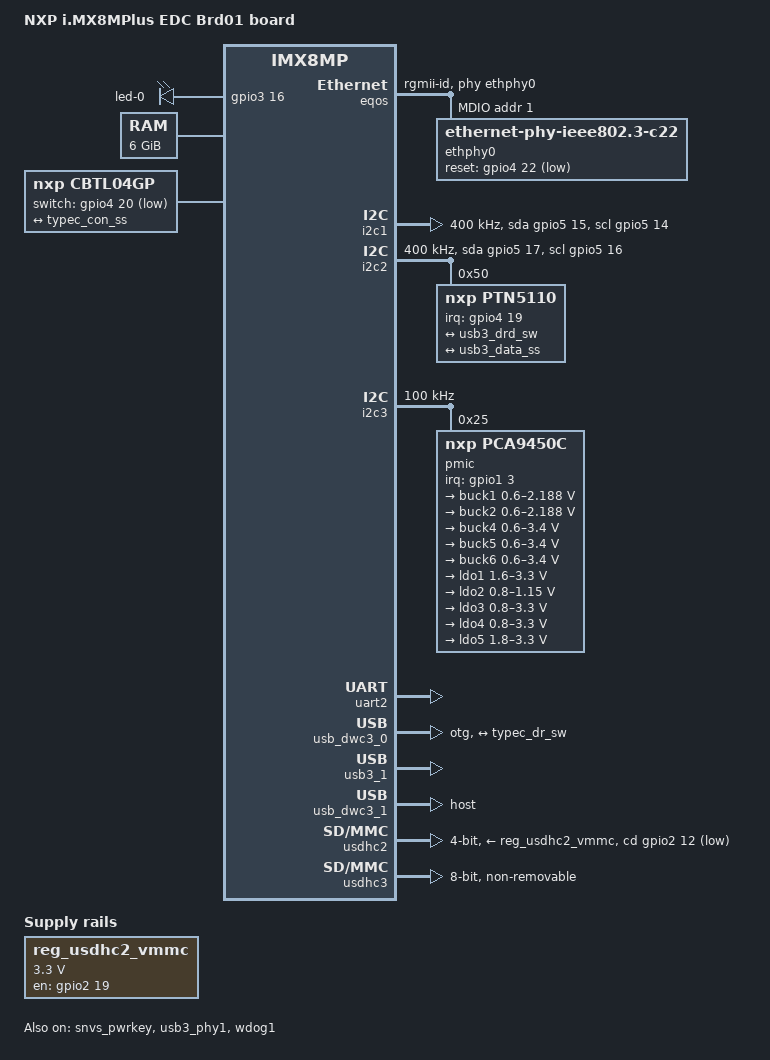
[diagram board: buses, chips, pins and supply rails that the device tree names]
/dts-v1/;

#include <dt-bindings/phy/phy-imx8-pcie.h>
#include <dt-bindings/usb/pd.h>
#include "imx8mp.dtsi"
#include "imx8mp-edc-brd01-pinmux.dtsi"

/ {
	model = "NXP i.MX8MPlus EDC Brd01 board";
	compatible = "fsl,imx8mp-evk", "fsl,imx8mp";

	chosen {
		bootargs = "console=ttymxc1,115200 earlycon=ec_imx6q,0x30890000,115200";
		stdout-path = &uart2;
	};

	gpio-leds {
		compatible = "gpio-leds";
		pinctrl-names = "default";
		pinctrl-0 = <&BOARD_InitPins>;

		led-0 {
			gpios = <&gpio3 16 GPIO_ACTIVE_HIGH>;
			default-state = "on";
		};
	};

	memory@40000000 {
		device_type = "memory";
		reg = <0x0 0x40000000 0 0xc0000000>,
		      <0x1 0x00000000 0 0xc0000000>;
	};

	reg_usdhc2_vmmc: regulator-usdhc2 {
		compatible = "regulator-fixed";
		pinctrl-names = "default";
		pinctrl-0 = <&BOARD_InitPins>;
		regulator-name = "VSD_3V3";
		regulator-min-microvolt = <3300000>;
		regulator-max-microvolt = <3300000>;
		gpio = <&gpio2 19 GPIO_ACTIVE_HIGH>;
		enable-active-high;
	};

	dsi_host: dsi-host {
		compatible = "samsung,sec-mipi-dsi";
		status = "okay";
	};

	cbtl04gp {
		compatible = "nxp,cbtl04gp";
		pinctrl-names = "default";
		pinctrl-0 = <&BOARD_InitPins>;
		switch-gpios = <&gpio4 20 GPIO_ACTIVE_LOW>;
		orientation-switch;

		port {
			usb3_data_ss: endpoint {
				remote-endpoint = <&typec_con_ss>;
			};
		};
	};
};

&A53_0 {
	cpu-supply = <&buck2>;
};

&A53_1 {
	cpu-supply = <&buck2>;
};

&A53_2 {
	cpu-supply = <&buck2>;
};

&A53_3 {
	cpu-supply = <&buck2>;
};

&eqos {
	pinctrl-names = "default";
	pinctrl-0 = <&BOARD_InitPins>;
	phy-mode = "rgmii-id";
	phy-handle = <&ethphy0>;
	snps,force_thresh_dma_mode;
	snps,mtl-tx-config = <&mtl_tx_setup>;
	snps,mtl-rx-config = <&mtl_rx_setup>;
	status = "okay";

	mdio {
		compatible = "snps,dwmac-mdio";
		#address-cells = <1>;
		#size-cells = <0>;

		ethphy0: ethernet-phy@1 {
			compatible = "ethernet-phy-ieee802.3-c22";
			reg = <1>;
			eee-broken-1000t;
			reset-gpios = <&gpio4 22 GPIO_ACTIVE_LOW>;
			reset-assert-us = <10000>;
			reset-deassert-us = <80000>;
			realtek,clkout-disable;
		};
	};

	mtl_tx_setup: tx-queues-config {
		snps,tx-queues-to-use = <5>;
		snps,tx-sched-sp;

		queue0 {
			snps,dcb-algorithm;
			snps,priority = <0x1>;
		};

		queue1 {
			snps,dcb-algorithm;
			snps,priority = <0x2>;
		};

		queue2 {
			snps,dcb-algorithm;
			snps,priority = <0x4>;
		};

		queue3 {
			snps,dcb-algorithm;
			snps,priority = <0x8>;
		};

		queue4 {
			snps,dcb-algorithm;
			snps,priority = <0xf0>;
		};
	};

	mtl_rx_setup: rx-queues-config {
		snps,rx-queues-to-use = <5>;
		snps,rx-sched-sp;

		queue0 {
			snps,dcb-algorithm;
			snps,priority = <0x1>;
			snps,map-to-dma-channel = <0>;
		};

		queue1 {
			snps,dcb-algorithm;
			snps,priority = <0x2>;
			snps,map-to-dma-channel = <1>;
		};

		queue2 {
			snps,dcb-algorithm;
			snps,priority = <0x4>;
			snps,map-to-dma-channel = <2>;
		};

		queue3 {
			snps,dcb-algorithm;
			snps,priority = <0x8>;
			snps,map-to-dma-channel = <3>;
		};

		queue4 {
			snps,dcb-algorithm;
			snps,priority = <0xf0>;
			snps,map-to-dma-channel = <4>;
		};
	};
};

&i2c1 {
	clock-frequency = <400000>;
	pinctrl-names = "default", "gpio";
	pinctrl-0 = <&BOARD_InitPins>;
	scl-gpios = <&gpio5 14 GPIO_ACTIVE_HIGH>;
	sda-gpios = <&gpio5 15 GPIO_ACTIVE_HIGH>;
	status = "okay";
};

&i2c2 {
	clock-frequency = <400000>;
	pinctrl-names = "default", "gpio";
	pinctrl-0 = <&BOARD_InitPins>;
	scl-gpios = <&gpio5 16 GPIO_ACTIVE_HIGH>;
	sda-gpios = <&gpio5 17 GPIO_ACTIVE_HIGH>;
	status = "okay";

	ptn5110: tcpc@50 {
		compatible = "nxp,ptn5110";
		pinctrl-names = "default";
		pinctrl-0 = <&pinctrl_typec>;
		reg = <0x50>;
		interrupt-parent = <&gpio4>;
		interrupts = <19 8>;

		port {
			typec_dr_sw: endpoint {
				remote-endpoint = <&usb3_drd_sw>;
			};
		};

		usb_con: connector {
			compatible = "usb-c-connector";
			label = "USB-C";
			power-role = "dual";
			data-role = "dual";
			try-power-role = "sink";
			source-pdos = <PDO_FIXED(5000, 3000, PDO_FIXED_USB_COMM)>;
			sink-pdos = <PDO_FIXED(5000, 3000, PDO_FIXED_USB_COMM)
				     PDO_VAR(5000, 20000, 3000)>;
			op-sink-microwatt = <15000000>;
			self-powered;

			ports {
				#address-cells = <1>;
				#size-cells = <0>;

				port@1 {
					reg = <1>;
					typec_con_ss: endpoint {
						remote-endpoint = <&usb3_data_ss>;
					};
				};
			};
		};
	};
};

&i2c3 {
	clock-frequency = <100000>;
	pinctrl-names = "default", "gpio";
	pinctrl-0 = <&BOARD_InitPins>;
	status = "okay";

	pmic@25 {
		compatible = "nxp,pca9450c";
		reg = <0x25>;
		pinctrl-names = "default";
		pinctrl-0 = <&pinctrl_pmic>;
		interrupt-parent = <&gpio1>;
		interrupts = <3 IRQ_TYPE_LEVEL_LOW>;

		regulators {
			buck1: BUCK1 {
				regulator-name = "BUCK1";
				regulator-min-microvolt = <600000>;
				regulator-max-microvolt = <2187500>;
				regulator-boot-on;
				regulator-always-on;
				regulator-ramp-delay = <3125>;
			};

			buck2: BUCK2 {
				regulator-name = "BUCK2";
				regulator-min-microvolt = <600000>;
				regulator-max-microvolt = <2187500>;
				regulator-boot-on;
				regulator-always-on;
				regulator-ramp-delay = <3125>;
				nxp,dvs-run-voltage = <950000>;
				nxp,dvs-standby-voltage = <850000>;
			};

			buck4: BUCK4{
				regulator-name = "BUCK4";
				regulator-min-microvolt = <600000>;
				regulator-max-microvolt = <3400000>;
				regulator-boot-on;
				regulator-always-on;
			};

			buck5: BUCK5{
				regulator-name = "BUCK5";
				regulator-min-microvolt = <600000>;
				regulator-max-microvolt = <3400000>;
				regulator-boot-on;
				regulator-always-on;
			};

			buck6: BUCK6 {
				regulator-name = "BUCK6";
				regulator-min-microvolt = <600000>;
				regulator-max-microvolt = <3400000>;
				regulator-boot-on;
				regulator-always-on;
			};

			ldo1: LDO1 {
				regulator-name = "LDO1";
				regulator-min-microvolt = <1600000>;
				regulator-max-microvolt = <3300000>;
				regulator-boot-on;
				regulator-always-on;
			};

			ldo2: LDO2 {
				regulator-name = "LDO2";
				regulator-min-microvolt = <800000>;
				regulator-max-microvolt = <1150000>;
				regulator-boot-on;
				regulator-always-on;
			};

			ldo3: LDO3 {
				regulator-name = "LDO3";
				regulator-min-microvolt = <800000>;
				regulator-max-microvolt = <3300000>;
				regulator-boot-on;
				regulator-always-on;
			};

			ldo4: LDO4 {
				regulator-name = "LDO4";
				regulator-min-microvolt = <800000>;
				regulator-max-microvolt = <3300000>;
				regulator-boot-on;
				regulator-always-on;
			};

			ldo5: LDO5 {
				regulator-name = "LDO5";
				regulator-min-microvolt = <1800000>;
				regulator-max-microvolt = <3300000>;
				regulator-boot-on;
				regulator-always-on;
			};
		};
	};
};

&snvs_pwrkey {
	status = "okay";
};

&uart2 {
	/* console */
	pinctrl-names = "default";
	pinctrl-0 = <&pinctrl_uart2>;
	status = "okay";
};

&usb_dwc3_0 {
	dr_mode = "otg";
	hnp-disable;
	srp-disable;
	adp-disable;
	usb-role-switch;
	role-switch-default-mode = "none";
	snps,dis-u1-entry-quirk;
	snps,dis-u2-entry-quirk;
	status = "okay";

	port {
		usb3_drd_sw: endpoint {
			remote-endpoint = <&typec_dr_sw>;
		};
	};
};

&usb3_phy1 {
	fsl,phy-tx-preemp-amp-tune = <3>;
	fsl,phy-tx-vref-tune = <0xb>;
	status = "okay";
};

&usb3_1 {
	status = "okay";
};

&usb_dwc3_1 {
	pinctrl-names = "default";
	pinctrl-0 = <&pinctrl_usb1_vbus>;
	dr_mode = "host";
	status = "okay";
};

&usdhc2 {
	assigned-clocks = <&clk IMX8MP_CLK_USDHC2>;
	assigned-clock-rates = <400000000>;
	pinctrl-names = "default", "state_100mhz", "state_200mhz";
	pinctrl-0 = <&pinctrl_usdhc2>, <&pinctrl_usdhc2_gpio>;
	pinctrl-1 = <&pinctrl_usdhc2_100mhz>, <&pinctrl_usdhc2_gpio>;
	pinctrl-2 = <&pinctrl_usdhc2_200mhz>, <&pinctrl_usdhc2_gpio>;
	cd-gpios = <&gpio2 12 GPIO_ACTIVE_LOW>;
	vmmc-supply = <&reg_usdhc2_vmmc>;
	bus-width = <4>;
	status = "okay";
};

&usdhc3 {
	assigned-clocks = <&clk IMX8MP_CLK_USDHC3>;
	assigned-clock-rates = <400000000>;
	pinctrl-names = "default", "state_100mhz", "state_200mhz";
	pinctrl-0 = <&pinctrl_usdhc3>;
	pinctrl-1 = <&pinctrl_usdhc3_100mhz>;
	pinctrl-2 = <&pinctrl_usdhc3_200mhz>;
	bus-width = <8>;
	non-removable;
	status = "okay";
};

&wdog1 {
	pinctrl-names = "default";
	pinctrl-0 = <&pinctrl_wdog>;
	fsl,ext-reset-output;
	status = "okay";
};

&iomuxc {
	pinctrl_eqos: eqosgrp {
		fsl,pins = <
			MX8MP_IOMUXC_ENET_MDC__ENET_QOS_MDC				0x2
			MX8MP_IOMUXC_ENET_MDIO__ENET_QOS_MDIO				0x2
			MX8MP_IOMUXC_ENET_RD0__ENET_QOS_RGMII_RD0			0x90
			MX8MP_IOMUXC_ENET_RD1__ENET_QOS_RGMII_RD1			0x90
			MX8MP_IOMUXC_ENET_RD2__ENET_QOS_RGMII_RD2			0x90
			MX8MP_IOMUXC_ENET_RD3__ENET_QOS_RGMII_RD3			0x90
			MX8MP_IOMUXC_ENET_RXC__CCM_ENET_QOS_CLOCK_GENERATE_RX_CLK	0x90
			MX8MP_IOMUXC_ENET_RX_CTL__ENET_QOS_RGMII_RX_CTL			0x90
			MX8MP_IOMUXC_ENET_TD0__ENET_QOS_RGMII_TD0			0x16
			MX8MP_IOMUXC_ENET_TD1__ENET_QOS_RGMII_TD1			0x16
			MX8MP_IOMUXC_ENET_TD2__ENET_QOS_RGMII_TD2			0x16
			MX8MP_IOMUXC_ENET_TD3__ENET_QOS_RGMII_TD3			0x16
			MX8MP_IOMUXC_ENET_TX_CTL__ENET_QOS_RGMII_TX_CTL			0x16
			MX8MP_IOMUXC_ENET_TXC__CCM_ENET_QOS_CLOCK_GENERATE_TX_CLK	0x16
			MX8MP_IOMUXC_SAI2_RXC__GPIO4_IO22				0x10
		>;
	};

	pinctrl_gpio_led: gpioledgrp {
		fsl,pins = <
			MX8MP_IOMUXC_NAND_READY_B__GPIO3_IO16	0x140
		>;
	};

	pinctrl_i2c1: i2c1grp {
		fsl,pins = <
			MX8MP_IOMUXC_I2C1_SCL__I2C1_SCL		0x400001c2
			MX8MP_IOMUXC_I2C1_SDA__I2C1_SDA		0x400001c2
		>;
	};

	pinctrl_i2c2: i2c2grp {
		fsl,pins = <
			MX8MP_IOMUXC_I2C2_SCL__I2C2_SCL		0x400001c2
			MX8MP_IOMUXC_I2C2_SDA__I2C2_SDA		0x400001c2
		>;
	};

	pinctrl_i2c3: i2c3grp {
		fsl,pins = <
			MX8MP_IOMUXC_I2C3_SCL__I2C3_SCL		0x400001c2
			MX8MP_IOMUXC_I2C3_SDA__I2C3_SDA		0x400001c2
		>;
	};

	pinctrl_pmic: pmicirqgrp {
		fsl,pins = <
			MX8MP_IOMUXC_GPIO1_IO03__GPIO1_IO03	0x000001c0
		>;
	};

	pinctrl_reg_usdhc2_vmmc: regusdhc2vmmcgrp {
		fsl,pins = <
			MX8MP_IOMUXC_SD2_RESET_B__GPIO2_IO19	0x40
		>;
	};

	pinctrl_i2c1_gpio: i2c1gpiogrp {
		fsl,pins = <
			MX8MP_IOMUXC_I2C1_SCL__GPIO5_IO14        	0x1c3
			MX8MP_IOMUXC_I2C1_SDA__GPIO5_IO15        	0x1c3
		>;
	};

	pinctrl_i2c2_gpio: i2c2gpiogrp {
		fsl,pins = <
			MX8MP_IOMUXC_I2C2_SCL__GPIO5_IO16        	0x1c3
			MX8MP_IOMUXC_I2C2_SDA__GPIO5_IO17        	0x1c3
		>;
	};

	pinctrl_i2c3_gpio: i2c3gpiogrp {
		fsl,pins = <
			MX8MP_IOMUXC_I2C3_SCL__GPIO5_IO18        	0x1c3
			MX8MP_IOMUXC_I2C3_SDA__GPIO5_IO19        	0x1c3
		>;
	};

	pinctrl_typec: typec1grp {
		fsl,pins = <
			MX8MP_IOMUXC_SAI1_TXD7__GPIO4_IO19	0x1c4
		>;
	};

	pinctrl_typec_mux: typec1muxgrp {
		fsl,pins = <
			MX8MP_IOMUXC_SAI1_MCLK__GPIO4_IO20	0x16
		>;
	};

	pinctrl_uart2: uart2grp {
		fsl,pins = <
			MX8MP_IOMUXC_UART2_RXD__UART2_DCE_RX	0x140
			MX8MP_IOMUXC_UART2_TXD__UART2_DCE_TX	0x140
		>;
	};

	pinctrl_usb1_vbus: usb1grp {
		fsl,pins = <
			MX8MP_IOMUXC_GPIO1_IO14__USB2_PWR		0x10
		>;
	};

	pinctrl_usdhc2: usdhc2grp {
		fsl,pins = <
			MX8MP_IOMUXC_SD2_CLK__USDHC2_CLK	0x190
			MX8MP_IOMUXC_SD2_CMD__USDHC2_CMD	0x1d0
			MX8MP_IOMUXC_SD2_DATA0__USDHC2_DATA0	0x1d0
			MX8MP_IOMUXC_SD2_DATA1__USDHC2_DATA1	0x1d0
			MX8MP_IOMUXC_SD2_DATA2__USDHC2_DATA2	0x1d0
			MX8MP_IOMUXC_SD2_DATA3__USDHC2_DATA3	0x1d0
			MX8MP_IOMUXC_GPIO1_IO04__USDHC2_VSELECT	0xc0
		>;
	};

	pinctrl_usdhc2_100mhz: usdhc2-100mhzgrp {
		fsl,pins = <
			MX8MP_IOMUXC_SD2_CLK__USDHC2_CLK	0x194
			MX8MP_IOMUXC_SD2_CMD__USDHC2_CMD	0x1d4
			MX8MP_IOMUXC_SD2_DATA0__USDHC2_DATA0	0x1d4
			MX8MP_IOMUXC_SD2_DATA1__USDHC2_DATA1	0x1d4
			MX8MP_IOMUXC_SD2_DATA2__USDHC2_DATA2	0x1d4
			MX8MP_IOMUXC_SD2_DATA3__USDHC2_DATA3	0x1d4
			MX8MP_IOMUXC_GPIO1_IO04__USDHC2_VSELECT 0xc0
		>;
	};

	pinctrl_usdhc2_200mhz: usdhc2-200mhzgrp {
		fsl,pins = <
			MX8MP_IOMUXC_SD2_CLK__USDHC2_CLK	0x196
			MX8MP_IOMUXC_SD2_CMD__USDHC2_CMD	0x1d6
			MX8MP_IOMUXC_SD2_DATA0__USDHC2_DATA0	0x1d6
			MX8MP_IOMUXC_SD2_DATA1__USDHC2_DATA1	0x1d6
			MX8MP_IOMUXC_SD2_DATA2__USDHC2_DATA2	0x1d6
			MX8MP_IOMUXC_SD2_DATA3__USDHC2_DATA3	0x1d6
			MX8MP_IOMUXC_GPIO1_IO04__USDHC2_VSELECT 0xc0
		>;
	};

	pinctrl_usdhc2_gpio: usdhc2gpiogrp {
		fsl,pins = <
			MX8MP_IOMUXC_SD2_CD_B__GPIO2_IO12	0x1c4
		>;
	};

	pinctrl_usdhc3: usdhc3grp {
		fsl,pins = <
			MX8MP_IOMUXC_NAND_WE_B__USDHC3_CLK	0x190
			MX8MP_IOMUXC_NAND_WP_B__USDHC3_CMD	0x1d0
			MX8MP_IOMUXC_NAND_DATA04__USDHC3_DATA0	0x1d0
			MX8MP_IOMUXC_NAND_DATA05__USDHC3_DATA1	0x1d0
			MX8MP_IOMUXC_NAND_DATA06__USDHC3_DATA2	0x1d0
			MX8MP_IOMUXC_NAND_DATA07__USDHC3_DATA3	0x1d0
			MX8MP_IOMUXC_NAND_RE_B__USDHC3_DATA4	0x1d0
			MX8MP_IOMUXC_NAND_CE2_B__USDHC3_DATA5	0x1d0
			MX8MP_IOMUXC_NAND_CE3_B__USDHC3_DATA6	0x1d0
			MX8MP_IOMUXC_NAND_CLE__USDHC3_DATA7	0x1d0
			MX8MP_IOMUXC_NAND_CE1_B__USDHC3_STROBE	0x190
		>;
	};

	pinctrl_usdhc3_100mhz: usdhc3-100mhzgrp {
		fsl,pins = <
			MX8MP_IOMUXC_NAND_WE_B__USDHC3_CLK	0x194
			MX8MP_IOMUXC_NAND_WP_B__USDHC3_CMD	0x1d4
			MX8MP_IOMUXC_NAND_DATA04__USDHC3_DATA0	0x1d4
			MX8MP_IOMUXC_NAND_DATA05__USDHC3_DATA1	0x1d4
			MX8MP_IOMUXC_NAND_DATA06__USDHC3_DATA2	0x1d4
			MX8MP_IOMUXC_NAND_DATA07__USDHC3_DATA3	0x1d4
			MX8MP_IOMUXC_NAND_RE_B__USDHC3_DATA4	0x1d4
			MX8MP_IOMUXC_NAND_CE2_B__USDHC3_DATA5	0x1d4
			MX8MP_IOMUXC_NAND_CE3_B__USDHC3_DATA6	0x1d4
			MX8MP_IOMUXC_NAND_CLE__USDHC3_DATA7	0x1d4
			MX8MP_IOMUXC_NAND_CE1_B__USDHC3_STROBE	0x194
		>;
	};

	pinctrl_usdhc3_200mhz: usdhc3-200mhzgrp {
		fsl,pins = <
			MX8MP_IOMUXC_NAND_WE_B__USDHC3_CLK	0x196
			MX8MP_IOMUXC_NAND_WP_B__USDHC3_CMD	0x1d6
			MX8MP_IOMUXC_NAND_DATA04__USDHC3_DATA0	0x1d6
			MX8MP_IOMUXC_NAND_DATA05__USDHC3_DATA1	0x1d6
			MX8MP_IOMUXC_NAND_DATA06__USDHC3_DATA2	0x1d6
			MX8MP_IOMUXC_NAND_DATA07__USDHC3_DATA3	0x1d6
			MX8MP_IOMUXC_NAND_RE_B__USDHC3_DATA4	0x1d6
			MX8MP_IOMUXC_NAND_CE2_B__USDHC3_DATA5	0x1d6
			MX8MP_IOMUXC_NAND_CE3_B__USDHC3_DATA6	0x1d6
			MX8MP_IOMUXC_NAND_CLE__USDHC3_DATA7	0x1d6
			MX8MP_IOMUXC_NAND_CE1_B__USDHC3_STROBE	0x196
		>;
	};

	pinctrl_wdog: wdoggrp {
		fsl,pins = <
			MX8MP_IOMUXC_GPIO1_IO02__WDOG1_WDOG_B	0x166
		>;
	};
};
